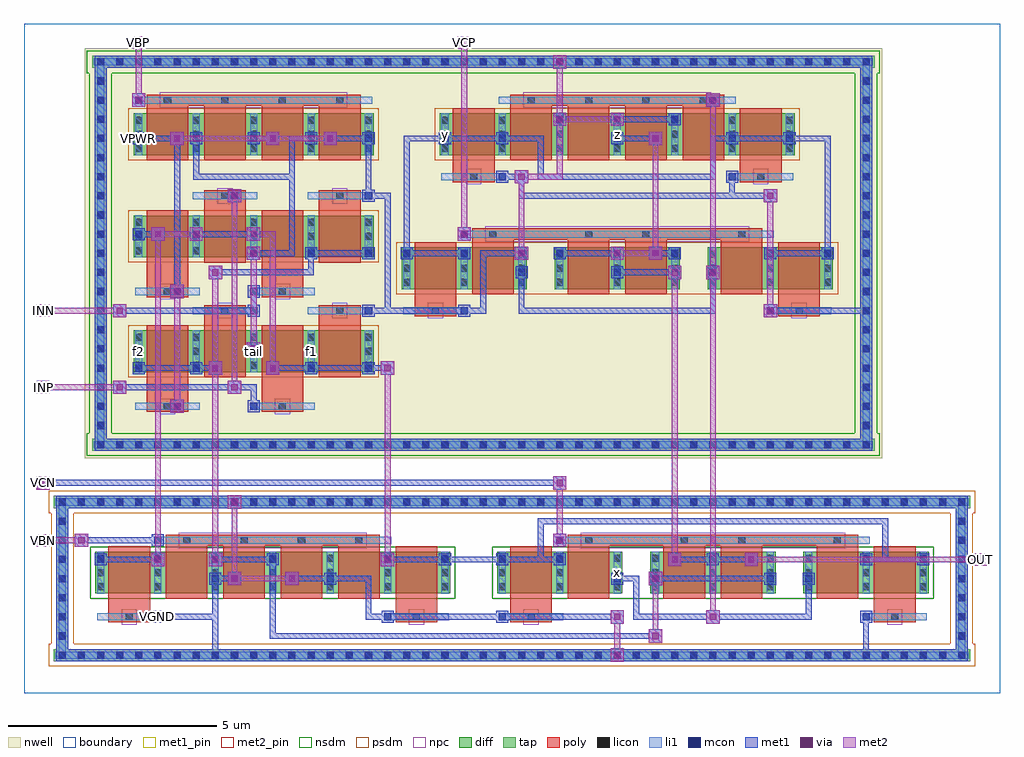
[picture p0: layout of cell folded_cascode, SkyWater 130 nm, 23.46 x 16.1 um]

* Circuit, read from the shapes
.subckt folded_cascode INN INP OUT VBN VBP VCN VCP VGND VPWR f1 f2 tail x y z
XM1 f1 VGND f1 VGND sky130_fd_pr__nfet_01v8 w=1 l=1 m=4
XM2 VGND VBN f1 VGND sky130_fd_pr__nfet_01v8 w=1 l=1 m=2
XM3 f2 VBN VGND VGND sky130_fd_pr__nfet_01v8 w=1 l=1 m=2
XM4 x VCN f1 VGND sky130_fd_pr__nfet_01v8 w=1 l=1 m=2
XM5 OUT VCN f2 VGND sky130_fd_pr__nfet_01v8 w=1 l=1 m=2
XM6 f2 VPWR f2 VPWR sky130_fd_pr__pfet_01v8 w=1 l=1 m=2
XM7 f1 VPWR f1 VPWR sky130_fd_pr__pfet_01v8 w=1 l=1 m=2
XM8 tail VBP VPWR VPWR sky130_fd_pr__pfet_01v8 w=1 l=1 m=4
XM9 tail INN f2 VPWR sky130_fd_pr__pfet_01v8 w=1 l=1 m=2
XM10 tail INP f1 VPWR sky130_fd_pr__pfet_01v8 w=1 l=1 m=2
XM11 y VPWR y VPWR sky130_fd_pr__pfet_01v8 w=1 l=1 m=4
XM12 x VCP y VPWR sky130_fd_pr__pfet_01v8 w=1 l=1 m=2
XM13 VPWR x y VPWR sky130_fd_pr__pfet_01v8 w=1 l=1 m=2
XM14 OUT VCP z VPWR sky130_fd_pr__pfet_01v8 w=1 l=1 m=2
XM15 z x VPWR VPWR sky130_fd_pr__pfet_01v8 w=1 l=1 m=2
.ends

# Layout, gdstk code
import gdstk
lib = gdstk.Library(unit=1e-6, precision=1e-09)
def R(c, l, rs):  # rectangles x0, y0, x1, y1
    for r in rs: c.add(gdstk.rectangle(r[:2], r[2:], *l))
def A(c, l, x, y, w, h, nx, ny, dx, dy):  # array of equal rectangles
    R(c, l, [(x+i*dx, y+j*dy, x+i*dx+w, y+j*dy+h) for i in range(nx) for j in range(ny)])
nwell = (64, 20)
diff = (65, 20)
tap = (65, 44)
poly = (66, 20)
licon = (66, 44)
li1 = (67, 20)
mcon = (67, 44)
met1_pin = (68, 16)
met1 = (68, 20)
via = (68, 44)
met2_pin = (69, 16)
met2 = (69, 20)
nsdm = (93, 44)
psdm = (94, 20)
npc = (95, 20)
boundary = (235, 4)

folded_cascode = lib.new_cell('folded_cascode')
R(folded_cascode, nwell, [(1.455,5.655,20.625,15.505)])
A(folded_cascode, diff, 11.375, 2.405, 3.01, 1, 3, 1, 3.68, 0)
A(folded_cascode, diff, 9.075, 9.72, 3.01, 1, 3, 1, 3.68, 0)
R(folded_cascode, diff, [(1.715,2.405,10.245,3.405), (2.635,7.725,8.405,8.725), (2.635,10.485,8.405,11.485), (2.635,12.94,8.405,13.94), (9.995,12.94,18.525,13.94)])
R(folded_cascode, tap, [(0.715,0.775,22.745,1.065), (0.775,0.775,1.065,4.745), (22.395,0.775,22.685,4.745), (0.715,4.455,22.745,4.745), (1.635,5.835,20.445,6.125), (1.695,5.835,1.985,15.325), (20.095,5.835,20.385,15.325), (1.635,15.035,20.445,15.325)])
A(folded_cascode, poly, 3.41, 2.275, 1, 1.405, 4, 1, 1.38, 0)
A(folded_cascode, poly, 2.95, 12.81, 1, 1.45, 4, 1, 1.38, 0)
A(folded_cascode, poly, 11.69, 12.81, 1, 1.45, 4, 1, 1.38, 0)
R(folded_cascode, poly, [(2.03,1.705,3.03,1.975), (8.93,1.705,9.93,1.975), (11.69,1.705,12.69,1.975), (20.43,1.705,21.43,1.975), (2.03,1.84,3.03,3.535), (8.93,1.84,9.93,3.535), (11.69,1.84,12.69,3.535), (20.43,1.84,21.43,3.535), (13.07,2.275,14.07,3.68), (15.37,2.275,16.37,3.68), (16.75,2.275,17.75,3.68), (19.05,2.275,20.05,3.68), (3.41,3.545,8.55,3.815), (13.07,3.545,20.05,3.815), (2.95,6.765,3.95,7.035), (5.71,6.765,6.71,7.035), (2.95,6.9,3.95,8.855), (5.71,6.9,6.71,8.855), (4.33,7.595,5.33,9.2), (7.09,7.595,8.09,9.2), (4.33,9.065,5.33,9.335), (7.09,9.065,8.09,9.335), (9.39,9.065,10.39,9.335), (18.13,9.065,19.13,9.335), (9.39,9.2,10.39,10.85), (18.13,9.2,19.13,10.85), (2.95,9.525,3.95,9.795), (5.71,9.525,6.71,9.795), (10.77,9.59,11.77,11.04), (13.07,9.59,14.07,11.04), (14.45,9.59,15.45,11.04), (16.75,9.59,17.75,11.04), (2.95,9.66,3.95,11.615), (5.71,9.66,6.71,11.615), (4.33,10.355,5.33,11.96), (7.09,10.355,8.09,11.96), (10.77,10.905,17.75,11.175), (4.33,11.825,5.33,12.095), (7.09,11.825,8.09,12.095), (10.31,12.285,11.31,12.555), (17.21,12.285,18.21,12.555), (10.31,12.42,11.31,14.07), (17.21,12.42,18.21,14.07), (2.95,14.125,8.09,14.395), (11.69,14.125,16.83,14.395)])
A(folded_cascode, licon, 0.835, 0.835, 0.17, 0.17, 48, 2, 0.46, 3.68)
A(folded_cascode, licon, 0.835, 1.295, 0.17, 0.17, 1, 7, 0, 0.46)
A(folded_cascode, licon, 22.455, 1.295, 0.17, 0.17, 1, 7, 0, 0.46)
A(folded_cascode, licon, 1.755, 2.48, 0.17, 0.17, 10, 3, 1.38, 0.34)
A(folded_cascode, licon, 15.095, 2.48, 0.17, 0.17, 3, 3, 1.38, 0.34)
A(folded_cascode, licon, 18.775, 2.48, 0.17, 0.17, 3, 3, 1.38, 0.34)
A(folded_cascode, licon, 3.825, 3.595, 0.17, 0.17, 4, 1, 1.38, 0)
A(folded_cascode, licon, 1.755, 5.895, 0.17, 0.17, 41, 2, 0.46, 9.2)
A(folded_cascode, licon, 1.755, 6.355, 0.17, 0.17, 1, 19, 0, 0.46)
A(folded_cascode, licon, 20.155, 6.355, 0.17, 0.17, 1, 19, 0, 0.46)
A(folded_cascode, licon, 2.675, 7.8, 0.17, 0.17, 5, 3, 1.38, 0.34)
A(folded_cascode, licon, 9.115, 9.795, 0.17, 0.17, 3, 3, 1.38, 0.34)
A(folded_cascode, licon, 12.795, 9.795, 0.17, 0.17, 3, 3, 1.38, 0.34)
A(folded_cascode, licon, 16.475, 9.795, 0.17, 0.17, 3, 3, 1.38, 0.34)
A(folded_cascode, licon, 2.675, 10.56, 0.17, 0.17, 5, 3, 1.38, 0.34)
A(folded_cascode, licon, 2.675, 13.015, 0.17, 0.17, 5, 3, 1.38, 0.34)
A(folded_cascode, licon, 10.035, 13.015, 0.17, 0.17, 7, 3, 1.38, 0.34)
A(folded_cascode, licon, 3.365, 14.175, 0.17, 0.17, 4, 1, 1.38, 0)
A(folded_cascode, licon, 12.105, 14.175, 0.17, 0.17, 4, 1, 1.38, 0)
R(folded_cascode, licon, [(2.445,1.755,2.615,1.925), (9.345,1.755,9.515,1.925), (12.105,1.755,12.275,1.925), (20.845,1.755,21.015,1.925), (13.485,3.595,13.655,3.765), (15.785,3.595,15.955,3.765), (17.165,3.595,17.335,3.765), (19.465,3.595,19.635,3.765), (3.365,6.815,3.535,6.985), (6.125,6.815,6.295,6.985), (4.745,9.115,4.915,9.285), (7.505,9.115,7.675,9.285), (9.805,9.115,9.975,9.285), (18.545,9.115,18.715,9.285), (3.365,9.575,3.535,9.745), (6.125,9.575,6.295,9.745), (11.185,10.955,11.355,11.125), (13.485,10.955,13.655,11.125), (14.865,10.955,15.035,11.125), (17.165,10.955,17.335,11.125), (4.745,11.875,4.915,12.045), (7.505,11.875,7.675,12.045), (10.725,12.335,10.895,12.505), (17.625,12.335,17.795,12.505)])
A(folded_cascode, li1, 1.755, 2.4, 0.17, 1.01, 10, 1, 1.38, 0)
A(folded_cascode, li1, 15.095, 2.4, 0.17, 1.01, 3, 1, 1.38, 0)
A(folded_cascode, li1, 18.775, 2.4, 0.17, 1.01, 3, 1, 1.38, 0)
A(folded_cascode, li1, 2.675, 7.72, 0.17, 1.01, 5, 2, 1.38, 2.76)
A(folded_cascode, li1, 9.115, 9.715, 0.17, 1.01, 3, 1, 1.38, 0)
A(folded_cascode, li1, 12.795, 9.715, 0.17, 1.01, 3, 1, 1.38, 0)
A(folded_cascode, li1, 16.475, 9.715, 0.17, 1.01, 3, 1, 1.38, 0)
A(folded_cascode, li1, 2.675, 12.935, 0.17, 1.01, 5, 1, 1.38, 0)
A(folded_cascode, li1, 10.035, 12.935, 0.17, 1.01, 7, 1, 1.38, 0)
R(folded_cascode, li1, [(0.755,0.835,22.705,1.005), (0.835,0.835,1.005,4.685), (22.455,0.835,22.625,4.685), (1.755,1.755,3.305,1.925), (8.655,1.755,10.205,1.925), (11.415,1.755,12.965,1.925), (20.155,1.755,21.705,1.925), (3.135,3.595,8.825,3.765), (12.795,3.595,20.325,3.765), (0.755,4.515,22.705,4.685), (1.675,5.895,20.405,6.065), (1.755,5.895,1.925,15.265), (20.155,5.895,20.325,15.265), (2.675,6.815,4.225,6.985), (5.435,6.815,6.985,6.985), (4.055,9.115,5.605,9.285), (6.815,9.115,8.365,9.285), (9.115,9.115,10.665,9.285), (17.855,9.115,19.405,9.285), (2.675,9.575,4.225,9.745), (5.435,9.575,6.985,9.745), (10.495,10.955,18.025,11.125), (4.055,11.875,5.605,12.045), (6.815,11.875,8.365,12.045), (10.035,12.335,11.585,12.505), (16.935,12.335,18.485,12.505), (2.675,14.175,8.365,14.345), (11.415,14.175,17.105,14.345), (1.675,15.095,20.405,15.265)])
A(folded_cascode, mcon, 0.835, 0.835, 0.17, 0.17, 48, 2, 0.46, 3.68)
A(folded_cascode, mcon, 0.835, 1.295, 0.17, 0.17, 1, 7, 0, 0.46)
A(folded_cascode, mcon, 22.455, 1.295, 0.17, 0.17, 1, 5, 0, 0.46)
A(folded_cascode, mcon, 3.135, 3.135, 0.17, 0.17, 3, 1, 2.76, 0)
A(folded_cascode, mcon, 10.035, 3.135, 0.17, 0.17, 3, 1, 1.38, 0)
A(folded_cascode, mcon, 3.135, 3.595, 0.17, 0.17, 3, 1, 9.66, 0)
A(folded_cascode, mcon, 1.755, 5.895, 0.17, 0.17, 41, 2, 0.46, 9.2)
A(folded_cascode, mcon, 20.155, 6.355, 0.17, 0.17, 1, 19, 0, 0.46)
A(folded_cascode, mcon, 1.755, 6.815, 0.17, 0.17, 3, 2, 1.84, 2.76)
A(folded_cascode, mcon, 1.755, 7.275, 0.17, 0.17, 1, 5, 0, 0.46)
A(folded_cascode, mcon, 2.675, 7.735, 0.17, 0.17, 1, 3, 0, 3.22)
A(folded_cascode, mcon, 1.755, 10.035, 0.17, 0.17, 1, 4, 0, 0.46)
A(folded_cascode, mcon, 11.875, 10.035, 0.17, 0.17, 3, 1, 2.3, 0)
A(folded_cascode, mcon, 5.435, 10.495, 0.17, 0.17, 3, 1, 1.38, 0)
A(folded_cascode, mcon, 1.755, 11.875, 0.17, 0.17, 3, 1, 3.22, 0)
A(folded_cascode, mcon, 1.755, 12.335, 0.17, 0.17, 1, 6, 0, 0.46)
A(folded_cascode, mcon, 2.675, 13.255, 0.17, 0.17, 5, 1, 1.38, 0)
A(folded_cascode, mcon, 11.415, 13.255, 0.17, 0.17, 3, 1, 2.76, 0)
R(folded_cascode, mcon, [(3.135,1.755,3.305,1.925), (8.655,1.755,8.825,1.925), (11.415,1.755,11.585,1.925), (20.155,1.755,20.325,1.925), (4.515,2.675,4.685,2.845), (7.275,2.675,7.445,2.845), (14.175,2.675,14.345,2.845), (15.095,2.675,15.265,2.845), (17.855,2.675,18.025,2.845), (18.775,2.675,18.945,2.845), (1.755,3.135,1.925,3.305), (16.475,3.135,16.645,3.305), (20.155,3.135,20.325,3.305), (21.535,3.135,21.705,3.305), (22.455,4.055,22.625,4.225), (1.755,6.355,1.925,6.525), (4.055,7.735,4.225,7.905), (6.815,7.735,6.985,7.905), (8.195,7.735,8.365,7.905), (5.435,8.195,5.605,8.365), (5.435,9.115,5.605,9.285), (8.195,9.115,8.365,9.285), (10.495,9.115,10.665,9.285), (17.855,9.115,18.025,9.285), (9.115,10.495,9.285,10.665), (10.495,10.495,10.665,10.665), (12.795,10.495,12.965,10.665), (15.555,10.495,15.725,10.665), (17.855,10.495,18.025,10.665), (19.235,10.495,19.405,10.665), (4.055,10.955,4.225,11.125), (10.495,10.955,10.665,11.125), (11.415,12.335,11.585,12.505), (16.935,12.335,17.105,12.505), (10.035,13.255,10.205,13.425), (18.315,13.255,18.485,13.425), (12.795,13.715,12.965,13.885), (15.555,13.715,15.725,13.885), (16.475,14.175,16.645,14.345)])
R(folded_cascode, met1_pin, [(3.075,1.695,3.365,1.985), (2.615,13.195,2.905,13.485)])
A(folded_cascode, met1, 3.075, 3.075, 0.29, 0.29, 3, 1, 2.76, 0)
A(folded_cascode, met1, 9.975, 3.075, 0.29, 0.29, 3, 1, 1.38, 0)
A(folded_cascode, met1, 8.67, 3.15, 1.52, 0.14, 3, 1, 1.38, 0)
A(folded_cascode, met1, 2.615, 7.675, 0.29, 0.29, 1, 3, 0, 3.22)
A(folded_cascode, met1, 11.815, 9.975, 0.29, 0.29, 3, 1, 2.3, 0)
A(folded_cascode, met1, 5.375, 10.435, 0.29, 0.29, 3, 1, 1.38, 0)
A(folded_cascode, met1, 2.615, 13.195, 0.29, 0.29, 5, 1, 1.38, 0)
A(folded_cascode, met1, 11.355, 13.195, 0.29, 0.29, 3, 1, 2.76, 0)
R(folded_cascode, met1, [(14.1,0.76,14.42,1.08), (0.775,0.775,22.685,1.065), (0.775,0.775,1.065,4.745), (22.395,0.775,22.685,4.745), (4.53,0.85,4.67,0.99), (4.53,0.85,4.67,2.83), (14.19,0.85,20.31,0.99), (20.17,0.85,20.31,1.91), (15.02,1.22,15.34,1.54), (5.91,1.31,15.25,1.45), (5.91,1.31,6.05,3.29), (14.1,1.68,14.42,2), (16.4,1.68,16.72,2), (3.075,1.695,3.365,1.985), (8.595,1.695,8.885,1.985), (11.355,1.695,11.645,1.985), (20.095,1.695,20.385,1.985), (3.15,1.77,4.67,1.91), (8.21,1.77,8.81,1.91), (8.21,1.77,8.35,2.83), (8.67,1.77,11.57,1.91), (11.43,1.77,14.33,1.91), (14.65,1.77,18.93,1.91), (14.65,1.77,14.79,2.83), (18.79,1.77,18.93,2.83), (4.9,2.6,5.22,2.92), (6.28,2.6,6.6,2.92), (15.02,2.6,15.34,2.92), (4.455,2.615,4.745,2.905), (7.215,2.615,7.505,2.905), (14.115,2.615,14.405,2.905), (15.035,2.615,15.325,2.905), (17.795,2.615,18.085,2.905), (18.715,2.615,19.005,2.905), (4.53,2.69,5.13,2.83), (6.37,2.69,7.43,2.83), (7.29,2.69,8.35,2.83), (14.19,2.69,14.79,2.83), (15.11,2.69,18.01,2.83), (3.06,3.06,3.38,3.38), (4.44,3.06,4.76,3.38), (8.58,3.06,8.9,3.38), (15.48,3.06,15.8,3.38), (17.32,3.06,17.64,3.38), (1.695,3.075,1.985,3.365), (16.415,3.075,16.705,3.365), (20.095,3.075,20.385,3.365), (21.475,3.075,21.765,3.365), (1.77,3.15,3.29,3.29), (4.53,3.15,6.05,3.29), (12.35,3.15,12.49,4.21), (15.57,3.15,16.63,3.29), (16.49,3.15,17.55,3.29), (20.17,3.15,20.77,3.29), (20.63,3.15,21.69,3.29), (20.63,3.15,20.77,4.21), (1.22,3.52,1.54,3.84), (12.72,3.52,13.04,3.84), (3.075,3.535,3.365,3.825), (12.735,3.535,13.025,3.825), (1.31,3.61,3.29,3.75), (12.35,4.07,20.77,4.21), (4.9,4.44,5.22,4.76), (0.775,4.455,22.685,4.745), (4.99,4.53,5.13,4.67), (0.3,4.9,0.62,5.22), (12.72,4.9,13.04,5.22), (0.39,4.99,12.95,5.13), (1.695,5.835,20.385,6.125), (1.695,5.835,1.985,15.325), (20.095,5.835,20.385,15.325), (3.52,6.74,3.84,7.06), (3.535,6.755,3.825,7.045), (5.375,6.755,5.665,7.045), (5.45,6.83,5.59,7.43), (2.14,7.2,2.46,7.52), (4.9,7.2,5.22,7.52), (2.23,7.29,5.59,7.43), (4.44,7.66,4.76,7.98), (5.82,7.66,6.14,7.98), (8.58,7.66,8.9,7.98), (3.995,7.675,4.285,7.965), (6.755,7.675,7.045,7.965), (8.135,7.675,8.425,7.965), (2.69,7.75,4.21,7.89), (4.07,7.75,4.67,7.89), (5.91,7.75,6.97,7.89), (6.83,7.75,8.35,7.89), (8.21,7.75,8.81,7.89), (5.36,8.12,5.68,8.44), (5.375,8.135,5.665,8.425), (2.14,9.04,2.46,9.36), (17.78,9.04,18.1,9.36), (5.375,9.055,5.665,9.345), (8.135,9.055,8.425,9.345), (10.435,9.055,10.725,9.345), (17.795,9.055,18.085,9.345), (2.23,9.13,5.59,9.27), (5.45,9.13,5.59,9.73), (8.21,9.13,10.65,9.27), (8.67,9.13,8.81,12.03), (10.51,9.13,11.11,9.27), (10.97,9.13,11.11,10.65), (11.89,9.13,12.03,10.19), (11.89,9.13,16.63,9.27), (16.49,9.13,16.63,10.19), (17.87,9.13,20.31,9.27), (20.17,9.13,20.31,9.27), (3.52,9.5,3.84,9.82), (3.535,9.515,3.825,9.805), (5.375,9.515,5.665,9.805), (3.61,9.59,3.75,13.41), (4.44,9.96,4.76,10.28), (15.48,9.96,15.8,10.28), (16.4,9.96,16.72,10.28), (4.53,10.05,6.97,10.19), (6.83,10.05,6.97,10.65), (14.19,10.05,15.71,10.19), (5.36,10.42,5.68,10.74), (11.8,10.42,12.12,10.74), (14.1,10.42,14.42,10.74), (15.02,10.42,15.34,10.74), (9.055,10.435,9.345,10.725), (10.435,10.435,10.725,10.725), (12.735,10.435,13.025,10.725), (15.495,10.435,15.785,10.725), (17.795,10.435,18.085,10.725), (19.175,10.435,19.465,10.725), (5.45,10.51,6.51,10.65), (6.37,10.51,6.51,13.41), (6.83,10.51,8.35,10.65), (9.13,10.51,10.65,10.65), (9.13,10.51,9.27,13.41), (10.97,10.51,12.03,10.65), (12.81,10.51,14.33,10.65), (15.11,10.51,15.71,10.65), (17.87,10.51,19.39,10.65), (19.25,10.51,19.39,13.41), (3.06,10.88,3.38,11.2), (3.98,10.88,4.3,11.2), (5.36,10.88,5.68,11.2), (10.42,10.88,10.74,11.2), (3.995,10.895,4.285,11.185), (10.435,10.895,10.725,11.185), (2.69,10.97,3.29,11.11), (4.07,10.97,5.59,11.11), (4.9,11.8,5.22,12.12), (17.78,11.8,18.1,12.12), (4.915,11.815,5.205,12.105), (8.135,11.815,8.425,12.105), (8.21,11.89,8.81,12.03), (8.21,11.89,8.35,13.41), (11.89,11.89,12.03,12.49), (11.89,11.89,17.09,12.03), (16.95,11.89,18.01,12.03), (16.95,11.89,17.09,12.49), (11.8,12.26,12.12,12.58), (11.355,12.275,11.645,12.565), (16.875,12.275,17.165,12.565), (4.07,12.35,4.21,13.41), (4.07,12.35,6.51,12.49), (11.43,12.35,12.03,12.49), (12.35,12.35,16.63,12.49), (12.35,12.35,12.49,13.41), (16.49,12.35,16.63,13.41), (3.52,13.18,3.84,13.5), (5.82,13.18,6.14,13.5), (7.2,13.18,7.52,13.5), (15.02,13.18,15.34,13.5), (9.975,13.195,10.265,13.485), (18.255,13.195,18.545,13.485), (2.69,13.27,3.75,13.41), (5.45,13.27,6.05,13.41), (6.37,13.27,6.97,13.41), (7.29,13.27,8.35,13.41), (9.13,13.27,10.19,13.41), (10.05,13.27,11.57,13.41), (11.43,13.27,12.49,13.41), (14.19,13.27,15.25,13.41), (16.49,13.27,17.09,13.41), (16.95,13.27,18.47,13.41), (18.33,13.27,19.39,13.41), (12.72,13.64,13.04,13.96), (14.1,13.64,14.42,13.96), (12.735,13.655,13.025,13.945), (15.495,13.655,15.785,13.945), (14.19,13.73,15.71,13.87), (2.6,14.1,2.92,14.42), (16.4,14.1,16.72,14.42), (16.415,14.115,16.705,14.405), (12.72,15.02,13.04,15.34), (1.695,15.035,20.385,15.325), (12.81,15.11,12.95,15.25)])
R(folded_cascode, via, [(14.185,0.845,14.335,0.995), (15.105,1.305,15.255,1.455), (14.185,1.765,14.335,1.915), (16.485,1.765,16.635,1.915), (4.985,2.685,5.135,2.835), (6.365,2.685,6.515,2.835), (15.105,2.685,15.255,2.835), (3.145,3.145,3.295,3.295), (4.525,3.145,4.675,3.295), (8.665,3.145,8.815,3.295), (15.565,3.145,15.715,3.295), (17.405,3.145,17.555,3.295), (1.305,3.605,1.455,3.755), (12.805,3.605,12.955,3.755), (4.985,4.525,5.135,4.675), (0.385,4.985,0.535,5.135), (12.805,4.985,12.955,5.135), (3.605,6.825,3.755,6.975), (2.225,7.285,2.375,7.435), (4.985,7.285,5.135,7.435), (4.525,7.745,4.675,7.895), (5.905,7.745,6.055,7.895), (8.665,7.745,8.815,7.895), (5.445,8.205,5.595,8.355), (2.225,9.125,2.375,9.275), (17.865,9.125,18.015,9.275), (3.605,9.585,3.755,9.735), (4.525,10.045,4.675,10.195), (15.565,10.045,15.715,10.195), (16.485,10.045,16.635,10.195), (5.445,10.505,5.595,10.655), (11.885,10.505,12.035,10.655), (14.185,10.505,14.335,10.655), (15.105,10.505,15.255,10.655), (3.145,10.965,3.295,11.115), (4.065,10.965,4.215,11.115), (5.445,10.965,5.595,11.115), (10.505,10.965,10.655,11.115), (4.985,11.885,5.135,12.035), (17.865,11.885,18.015,12.035), (11.885,12.345,12.035,12.495), (3.605,13.265,3.755,13.415), (5.905,13.265,6.055,13.415), (7.285,13.265,7.435,13.415), (15.105,13.265,15.255,13.415), (12.805,13.725,12.955,13.875), (14.185,13.725,14.335,13.875), (2.685,14.185,2.835,14.335), (16.485,14.185,16.635,14.335), (12.805,15.105,12.955,15.255)])
R(folded_cascode, met2_pin, [(22.85,3.07,23.15,3.37), (0.31,3.53,0.61,3.83), (0.31,4.91,0.61,5.21), (0.31,7.21,0.61,7.51), (0.31,9.05,0.61,9.35), (2.61,15.49,2.91,15.79), (10.43,15.49,10.73,15.79)])
R(folded_cascode, met2, [(14.1,0.76,14.42,1.08), (14.19,0.85,14.33,1.91), (15.02,1.22,15.34,1.54), (15.11,1.31,15.25,2.83), (14.1,1.68,14.42,2), (16.4,1.68,16.72,2), (16.49,1.77,16.63,10.19), (4.9,2.6,5.22,2.92), (6.28,2.6,6.6,2.92), (15.02,2.6,15.34,2.92), (4.99,2.69,5.13,4.67), (4.99,2.69,6.51,2.83), (3.06,3.06,3.38,3.38), (4.44,3.06,4.76,3.38), (8.58,3.06,8.9,3.38), (15.48,3.06,15.8,3.38), (17.32,3.06,17.64,3.38), (22.85,3.07,23.15,3.37), (3.15,3.15,3.29,11.11), (4.53,3.15,4.67,7.89), (8.67,3.15,8.81,7.89), (15.57,3.15,15.71,10.19), (17.41,3.15,23.07,3.29), (22.93,3.15,23.07,3.29), (1.22,3.52,1.54,3.84), (12.72,3.52,13.04,3.84), (0.31,3.53,0.61,3.83), (0.39,3.61,1.45,3.75), (0.39,3.61,0.53,3.75), (12.81,3.61,12.95,5.13), (4.9,4.44,5.22,4.76), (0.3,4.9,0.62,5.22), (12.72,4.9,13.04,5.22), (0.31,4.91,0.61,5.21), (0.39,4.99,0.53,5.13), (3.52,6.74,3.84,7.06), (3.61,6.83,3.75,9.73), (2.14,7.2,2.46,7.52), (4.9,7.2,5.22,7.52), (0.31,7.21,0.61,7.51), (0.39,7.29,0.53,7.43), (0.39,7.29,2.37,7.43), (4.99,7.29,5.13,12.03), (4.44,7.66,4.76,7.98), (5.82,7.66,6.14,7.98), (8.58,7.66,8.9,7.98), (4.53,7.75,4.67,10.19), (5.91,7.75,6.05,11.11), (5.36,8.12,5.68,8.44), (5.45,8.21,5.59,10.65), (2.14,9.04,2.46,9.36), (17.78,9.04,18.1,9.36), (0.31,9.05,0.61,9.35), (0.39,9.13,0.53,9.27), (0.39,9.13,2.37,9.27), (17.87,9.13,18.01,12.03), (3.52,9.5,3.84,9.82), (4.44,9.96,4.76,10.28), (15.48,9.96,15.8,10.28), (16.4,9.96,16.72,10.28), (16.49,10.05,16.63,14.33), (5.36,10.42,5.68,10.74), (11.8,10.42,12.12,10.74), (14.1,10.42,14.42,10.74), (15.02,10.42,15.34,10.74), (11.89,10.51,12.03,12.49), (14.19,10.51,15.25,10.65), (15.11,10.51,15.25,13.41), (3.06,10.88,3.38,11.2), (3.98,10.88,4.3,11.2), (5.36,10.88,5.68,11.2), (10.42,10.88,10.74,11.2), (3.15,10.97,4.21,11.11), (5.45,10.97,6.05,11.11), (10.51,10.97,10.65,15.71), (4.9,11.8,5.22,12.12), (17.78,11.8,18.1,12.12), (11.8,12.26,12.12,12.58), (11.89,12.35,12.95,12.49), (12.81,12.35,12.95,13.87), (3.52,13.18,3.84,13.5), (5.82,13.18,6.14,13.5), (7.2,13.18,7.52,13.5), (15.02,13.18,15.34,13.5), (3.61,13.27,6.05,13.41), (5.91,13.27,7.43,13.41), (12.72,13.64,13.04,13.96), (14.1,13.64,14.42,13.96), (12.81,13.73,12.95,15.25), (12.81,13.73,14.33,13.87), (2.6,14.1,2.92,14.42), (16.4,14.1,16.72,14.42), (2.69,14.19,2.83,15.71), (12.72,15.02,13.04,15.34), (2.61,15.49,2.91,15.79), (10.43,15.49,10.73,15.79), (2.69,15.57,2.83,15.71), (10.51,15.57,10.65,15.71)])
R(folded_cascode, nsdm, [(1.59,2.28,10.37,3.53), (11.25,2.28,21.87,3.53), (1.51,5.71,20.57,6.25), (1.57,6.25,2.11,14.91), (19.97,6.25,20.51,14.91), (1.51,14.91,20.57,15.45)])
R(folded_cascode, psdm, [(0.59,0.65,22.87,1.19), (0.65,1.19,1.19,4.33), (22.27,1.19,22.81,4.33), (0.59,4.33,22.87,4.87), (2.51,7.6,8.53,8.85), (8.95,9.595,19.57,10.845), (2.51,10.36,8.53,11.61), (2.51,12.815,8.53,14.065), (9.87,12.815,18.65,14.065)])
R(folded_cascode, npc, [(2.345,1.655,2.715,2.025), (9.245,1.655,9.615,2.025), (12.005,1.655,12.375,2.025), (20.745,1.655,21.115,2.025), (3.725,3.495,8.235,3.865), (13.385,3.495,19.735,3.865), (3.265,6.715,3.635,7.085), (6.025,6.715,6.395,7.085), (4.645,9.015,5.015,9.385), (7.405,9.015,7.775,9.385), (9.705,9.015,10.075,9.385), (18.445,9.015,18.815,9.385), (3.265,9.475,3.635,9.845), (6.025,9.475,6.395,9.845), (11.085,10.855,17.435,11.225), (4.645,11.775,5.015,12.145), (7.405,11.775,7.775,12.145), (10.625,12.235,10.995,12.605), (17.525,12.235,17.895,12.605), (3.265,14.075,7.775,14.445), (12.005,14.075,16.515,14.445)])
R(folded_cascode, boundary, [(0,0,23.46,16.1)])
folded_cascode.add(gdstk.Label('f2', (2.76,8.225), layer=67, texttype=5))
folded_cascode.add(gdstk.Label('tail', (5.52,8.225), layer=67, texttype=5))
folded_cascode.add(gdstk.Label('f1', (6.9,8.225), layer=67, texttype=5))
folded_cascode.add(gdstk.Label('x', (14.26,2.905), layer=67, texttype=5))
folded_cascode.add(gdstk.Label('y', (10.12,13.44), layer=67, texttype=5))
folded_cascode.add(gdstk.Label('z', (14.26,13.44), layer=67, texttype=5))
folded_cascode.add(gdstk.Label('VPWR', (2.76,13.34), layer=68, texttype=5))
folded_cascode.add(gdstk.Label('VGND', (3.22,1.84), layer=68, texttype=5))
folded_cascode.add(gdstk.Label('INP', (0.46,7.36), layer=69, texttype=5))
folded_cascode.add(gdstk.Label('INN', (0.46,9.2), layer=69, texttype=5))
folded_cascode.add(gdstk.Label('VBP', (2.76,15.64), layer=69, texttype=5))
folded_cascode.add(gdstk.Label('VBN', (0.46,3.68), layer=69, texttype=5))
folded_cascode.add(gdstk.Label('VCN', (0.46,5.06), layer=69, texttype=5))
folded_cascode.add(gdstk.Label('VCP', (10.58,15.64), layer=69, texttype=5))
folded_cascode.add(gdstk.Label('OUT', (23,3.22), layer=69, texttype=5))
folded_cascode.add(gdstk.Label('VPWR', (2.76,13.34), layer=68, texttype=16))
folded_cascode.add(gdstk.Label('VGND', (3.22,1.84), layer=68, texttype=16))
folded_cascode.add(gdstk.Label('INP', (0.46,7.36), layer=69, texttype=16))
folded_cascode.add(gdstk.Label('INN', (0.46,9.2), layer=69, texttype=16))
folded_cascode.add(gdstk.Label('VBP', (2.76,15.64), layer=69, texttype=16))
folded_cascode.add(gdstk.Label('VBN', (0.46,3.68), layer=69, texttype=16))
folded_cascode.add(gdstk.Label('VCN', (0.46,5.06), layer=69, texttype=16))
folded_cascode.add(gdstk.Label('VCP', (10.58,15.64), layer=69, texttype=16))
folded_cascode.add(gdstk.Label('OUT', (23,3.22), layer=69, texttype=16))

lib.write_gds('folded_cascode.gds')
